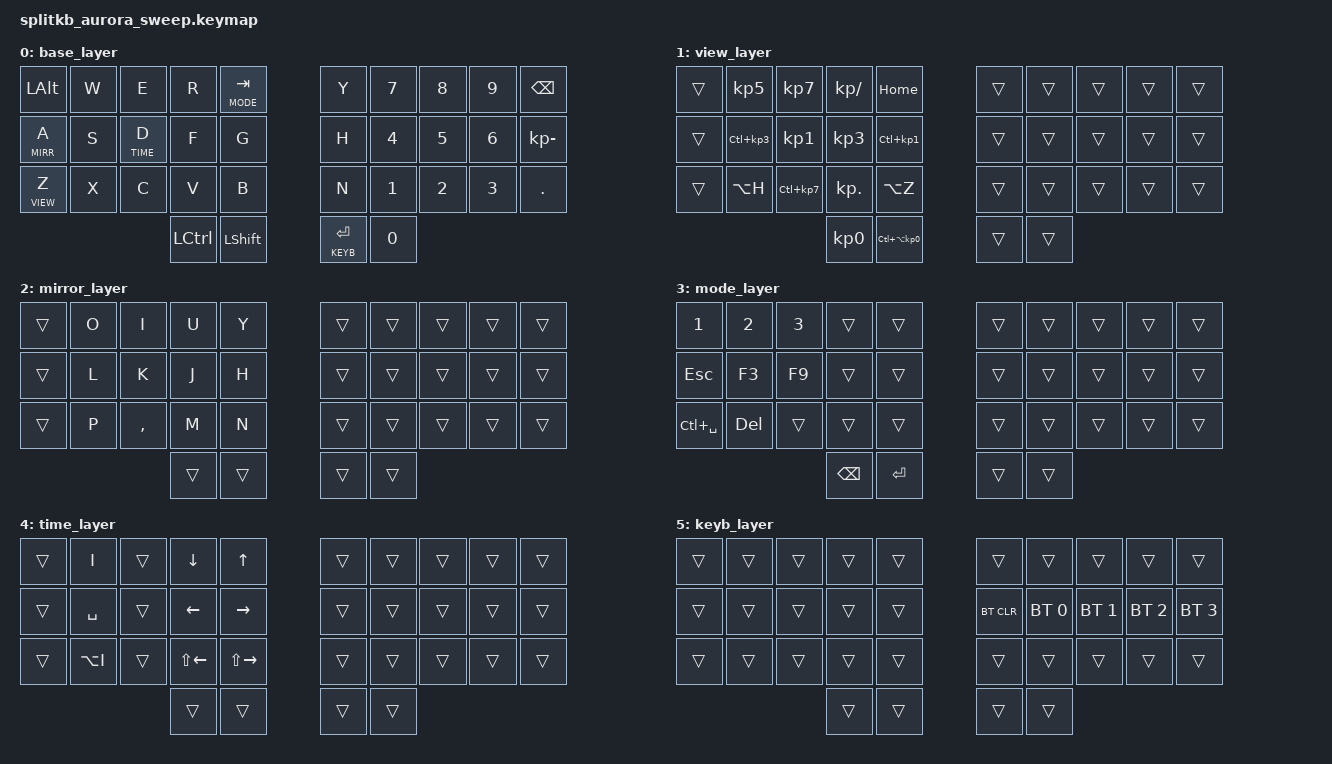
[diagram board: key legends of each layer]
/*
 * Copyright (c) 2022 The ZMK Contributors
 *
 * SPDX-License-Identifier: MIT
 */

/*
 * BLENDER-ONLY KEYMAP
 * Left hand drives, right hand mouses and hops over to the right half
 * to type numbers (R Z 90 Enter). Letters stay where Blender expects them;
 * layers hang off hold-taps:
 *   hold Z = VIEW   hold A = MIRROR   hold Tab(T) = MODE   hold D = TIME
 * Ctrl/Shift/Alt are plain modifiers so mouse clicks register instantly.
 *
 * Blender prefs: Input > Emulate Numpad OFF. Keep NumLock ON.
 */

#include <dt-bindings/zmk/keys.h>
#include <behaviors.dtsi>
#include <dt-bindings/zmk/bt.h>

#define BASE 0
#define VIEW 1
#define MIRR 2
#define MODE 3
#define TIME 4
#define KEYB 5

/ {
	behaviors {
			// Layer turns on the instant the key goes down; any key pressed while
			// held uses it. Held alone and released = the letter (retro-tap).
			// Pressed right after another key (fast typing) = plain letter.
			blt: blender_layer_tap {
					compatible = "zmk,behavior-hold-tap";
					flavor = "hold-preferred";
					tapping-term-ms = <200>;
					require-prior-idle-ms = <100>;
					hold-while-undecided;
					retro-tap;
					#binding-cells = <2>;
					bindings = <&mo>, <&kp>;
			};
	};

	keymap {
		compatible = "zmk,keymap";

		/*
		 * BASE
		 *  Alt    W   E   R   Tab|MODE      Y  7  8  9  Bksp
		 *  A|MIRR S   D|TIME  F   G         H  4  5  6  -
		 *  Z|VIEW X   C   V   B             N  1  2  3  .
		 *             Ctrl  Shift          Enter|KEYB  0
		 * Right half = numeric entry; digits double as 1/2/3 select modes.
		 */
		base_layer {
			bindings = <
				&kp LALT    &kp W &kp E        &kp R     &blt MODE TAB   &kp Y &kp N7 &kp N8 &kp N9 &kp BSPC
				&blt MIRR A &kp S &blt TIME D  &kp F     &kp G          &kp H &kp N4 &kp N5 &kp N6 &kp KP_MINUS
				&blt VIEW Z &kp X &kp C        &kp V     &kp B          &kp N &kp N1 &kp N2 &kp N3 &kp DOT
				                               &kp LCTRL &kp LSHFT      &lt KEYB RET &kp N0
				>;
		};

		/*
		 * VIEW (hold Z): cube net around D = front
		 *  .  persp   TOP      local    frame all
		 *  .  LEFT    FRONT    RIGHT    BACK
		 *  #  unhide  BOTTOM   frame sel  x-ray
		 *             camera   camera to view
		 * Press Shift before Z, then a view = align view to selection.
		 */
		view_layer {
			bindings = <
				&trans &kp KP_N5     &kp KP_N7     &kp KP_SLASH &kp HOME       &trans &trans &trans &trans &trans
				&trans &kp LC(KP_N3) &kp KP_N1     &kp KP_N3    &kp LC(KP_N1)  &trans &trans &trans &trans &trans
				&trans &kp LA(H)     &kp LC(KP_N7) &kp KP_DOT   &kp LA(Z)      &trans &trans &trans &trans &trans
				                                   &kp KP_N0    &kp LC(LA(KP_N0)) &trans &trans
				>;
		};

		/*
		 * MIRROR (hold A): right-hand letters mirrored, same finger.
		 *  .  O   I   U   Y
		 *  #  L   K   J   H
		 *  .  P   ,   M   N      (P on X: the pinky is busy holding A)
		 */
		mirror_layer {
			bindings = <
				&trans &kp O &kp I     &kp U &kp Y    &trans &trans &trans &trans &trans
				&trans &kp L &kp K     &kp J &kp H    &trans &trans &trans &trans &trans
				&trans &kp P &kp COMMA &kp M &kp N    &trans &trans &trans &trans &trans
				                       &trans &trans  &trans &trans
				>;
		};

		/*
		 * MODE (hold Tab): select modes + utilities
		 *  1    2    3       .  #
		 *  Esc  F3   F9
		 *  Max  Del  .
		 *        Bksp  Enter
		 * Max = Ctrl+Space (maximize area)
		 */
		mode_layer {
			bindings = <
				&kp N1          &kp N2  &kp N3 &trans   &trans    &trans &trans &trans &trans &trans
				&kp ESC         &kp F3  &kp F9 &trans   &trans    &trans &trans &trans &trans &trans
				&kp LC(SPACE)   &kp DEL &trans &trans   &trans    &trans &trans &trans &trans &trans
				                               &kp BSPC &kp RET   &trans &trans
				>;
		};

		/*
		 * TIME (hold D): timeline under the index finger
		 *  .  Insert key  #  ◀key    key▶
		 *  .  Play           ◀frame  frame▶
		 *  .  Delete key     |◀start end▶|
		 *              (Ctrl) (Shift)
		 * Left column goes back, right column goes forward.
		 */
		time_layer {
			bindings = <
				&trans &kp I     &trans &kp DOWN      &kp UP          &trans &trans &trans &trans &trans
				&trans &kp SPACE &trans &kp LEFT      &kp RIGHT       &trans &trans &trans &trans &trans
				&trans &kp LA(I) &trans &kp LS(LEFT)  &kp LS(RIGHT)   &trans &trans &trans &trans &trans
				                        &trans        &trans          &trans &trans
				>;
		};

		/*
		 * KEYB (hold right inner thumb): Bluetooth
		 */
		keyb_layer {
			bindings = <
				&trans &trans &trans &trans &trans   &trans     &trans       &trans       &trans       &trans
				&trans &trans &trans &trans &trans   &bt BT_CLR &bt BT_SEL 0 &bt BT_SEL 1 &bt BT_SEL 2 &bt BT_SEL 3
				&trans &trans &trans &trans &trans   &trans     &trans       &trans       &trans       &trans
				                     &trans &trans   &trans     &trans
				>;
		};
	};
};
